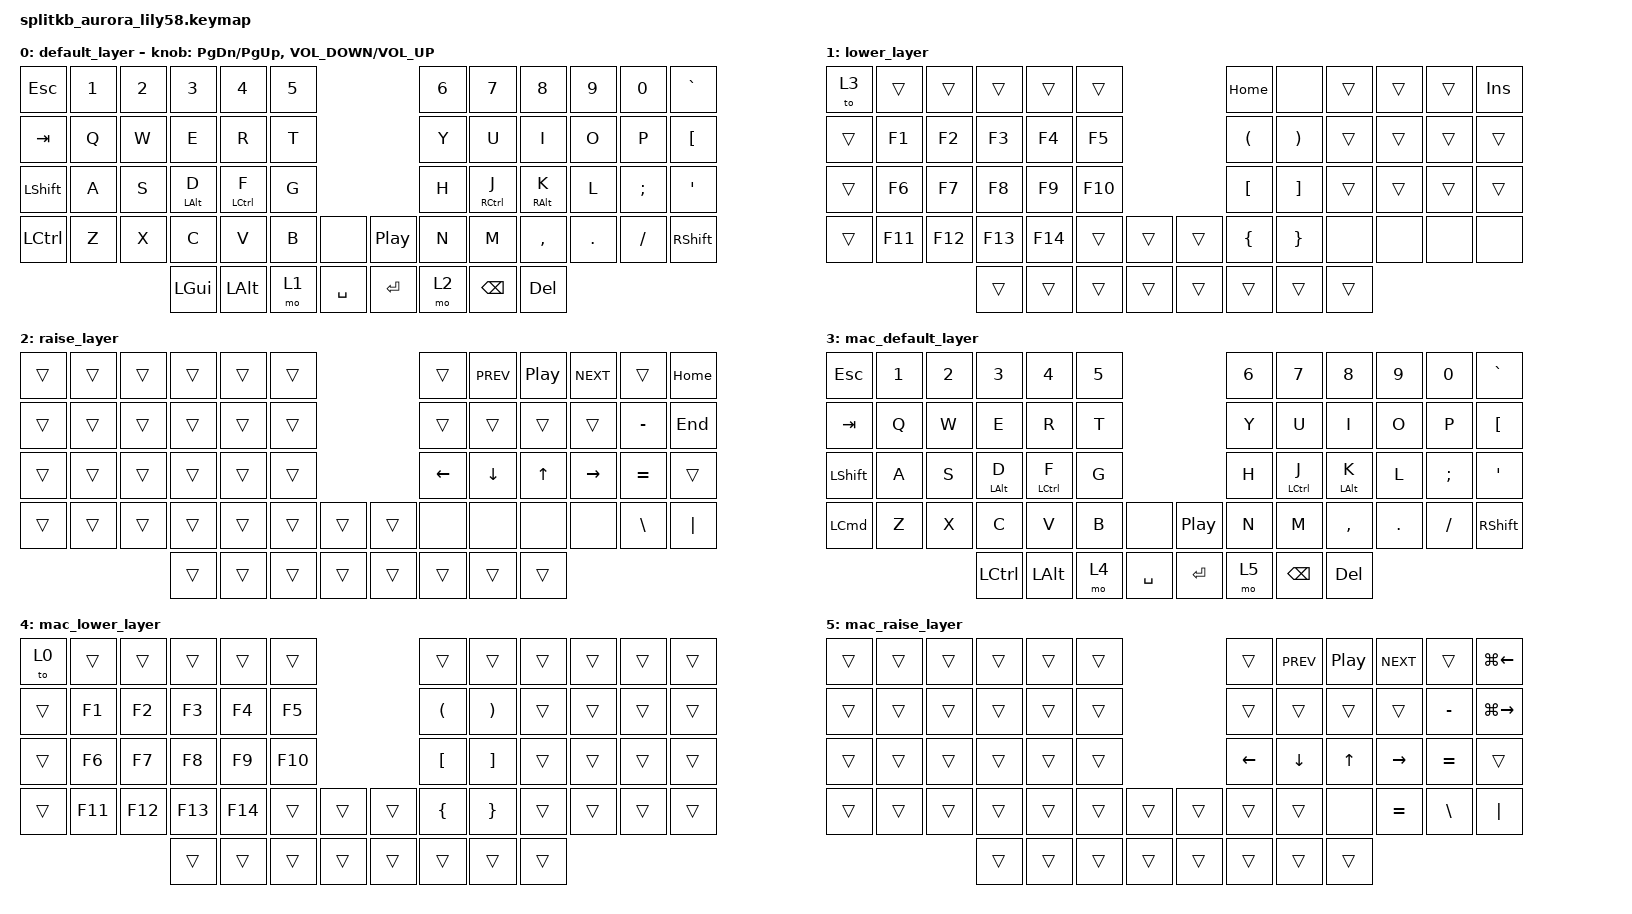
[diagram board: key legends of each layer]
/*
 * Copyright (c) 2022 The ZMK Contributors
 *
 * SPDX-License-Identifier: MIT
 */

#include <behaviors.dtsi>
#include <dt-bindings/zmk/keys.h>

/ {
    behaviors {
        hold_and_tap: hold_and_tap {
            compatible = "zmk,behavior-hold-tap";
            label = "HOLD_AND_TAP";
            bindings = <&kp>, <&kp>;

            #binding-cells = <2>;
            tapping-term-ms = <200>;
            flavor = "tap-preferred";
        };

        tap_dance_j_control: tap_dance_j_control {
            compatible = "zmk,behavior-tap-dance";
            label = "TAP_DANCE_J_CONTROL";
            #binding-cells = <0>;
            bindings = <&kp J>, <&kp LEFT_CONTROL>;
        };
    };

    keymap {
        compatible = "zmk,keymap";

        default_layer {
            // ------------------------------------------------------------------------------------------------------------
            // |  ESC  |  1  |  2  |  3   |  4   |  5   |                   |  6   |  7    |  8    |  9   |   0   |   `   |
            // |  TAB  |  Q  |  W  |  E   |  R   |  T   |                   |  Y   |  U    |  I    |  O   |   P   |   -   |
            // |  CTRL |  A  |  S  |  D   |  F   |  G   |                   |  H   |  J    |  K    |  L   |   ;   |   '   |
            // | SHIFT |  Z  |  X  |  C   |  V   |  B   |   "["  |  |  "]"  |  N   |  M    |  ,    |  .   |   /   | SHIFT |
            //                     | ALT  | GUI  | LOWER|  SPACE |  | ENTER | RAISE| BSPC  | GUI   |

            bindings = <
&kp ESC           &kp N1  &kp N2  &kp N3                    &kp N4                        &kp N5                                 &kp N6  &kp N7                         &kp N8                     &kp N9   &kp N0    &kp GRAVE
&kp TAB           &kp Q   &kp W   &kp E                     &kp R                         &kp T                                  &kp Y   &kp U                          &kp I                      &kp O    &kp P     &kp LEFT_BRACKET
&kp LEFT_SHIFT    &kp A   &kp S   &hold_and_tap LEFT_ALT D  &hold_and_tap LEFT_CONTROL F  &kp G                                  &kp H   &hold_and_tap RIGHT_CONTROL J  &hold_and_tap RIGHT_ALT K  &kp L    &kp SEMI  &kp SQT
&kp LEFT_CONTROL  &kp Z   &kp X   &kp C                     &kp V                         &kp B   &none        &kp C_PLAY_PAUSE  &kp N   &kp M                          &kp COMMA                  &kp DOT  &kp FSLH  &kp RSHFT
                                  &kp LGUI                  &kp LALT                      &mo 1   &kp SPACE    &kp RET           &mo 2   &kp BSPC                       &kp DELETE
            >;

            sensor-bindings =
                <&inc_dec_kp PG_DN PAGE_UP>,
                <&inc_dec_kp C_VOLUME_DOWN C_VOLUME_UP>;
        };

        lower_layer {
            // ------------------------------------------------------------------------------------------------------------
            // | BTCLR | BT1 | BT2 |  BT3 |  BT4 |  BT5 |                   |      |       |       |      |       |       |
            // |  F1   |  F2 |  F3 |  F4  |  F5  |  F6  |                   |  F7  |  F8   |  F9   |  F10 |  F11  |  F12  |
            // |   `   |  !  |  @  |  #   |  $   |  %   |                   |  ^   |  &    |  *    |  (   |   )   |   ~   |
            // |       |     |     |      |      |      |        |  |       |      |  _    |  +    |  {   |   }   |  "|"  |
            //                     |      |      |      |        |  |       |      |       |       |

            bindings = <
&to 3   &trans   &trans   &trans   &trans   &trans                     &kp HOME              &none                  &trans  &trans  &trans  &kp INS
&trans  &kp F1   &kp F2   &kp F3   &kp F4   &kp F5                     &kp LEFT_PARENTHESIS  &kp RIGHT_PARENTHESIS  &trans  &trans  &trans  &trans
&trans  &kp F6   &kp F7   &kp F8   &kp F9   &kp F10                    &kp LEFT_BRACKET      &kp RIGHT_BRACKET      &trans  &trans  &trans  &trans
&trans  &kp F11  &kp F12  &kp F13  &kp F14  &trans   &trans    &trans  &kp LEFT_BRACE        &kp RIGHT_BRACE        &none   &none   &none   &none
                          &trans   &trans   &trans   &trans    &trans  &trans                &trans                 &trans
            >;
        };

        raise_layer {
            // ------------------------------------------------------------------------------------------------------------
            // |       |     |     |      |      |      |                   |      |       |       |      |       |       |
            // |   `   |  1  |  2  |  3   |  4   |  5   |                   |  6   |   7   |   8   |  9   |   0   |       |
            // |   F1  |  F2 |  F3 |  F4  |  F5  |  F6  |                   |      |   <-  |   v   |  ^   |  ->   |       |
            // |   F7  |  F8 |  F9 |  F10 |  F11 |  F12 |        |  |       |  +   |   -   |   =   |  [   |   ]   |   \   |
            //                     |      |      |      |        |  |       |      |       |       |

            bindings = <
&trans  &trans  &trans  &trans  &trans  &trans                    &trans    &kp C_PREV  &kp C_PP  &kp C_NEXT  &trans         &kp HOME
&trans  &trans  &trans  &trans  &trans  &trans                    &trans    &trans      &trans    &trans      &kp MINUS      &kp END
&trans  &trans  &trans  &trans  &trans  &trans                    &kp LEFT  &kp DOWN    &kp UP    &kp RIGHT   &kp EQUAL      &trans
&trans  &trans  &trans  &trans  &trans  &trans  &trans    &trans  &none     &none       &none     &none       &kp BACKSLASH  &kp PIPE
                        &trans  &trans  &trans  &trans    &trans  &trans    &trans      &trans
            >;
        };

        mac_default_layer {
            bindings = <
&kp ESC           &kp N1  &kp N2  &kp N3                    &kp N4                        &kp N5                          &kp N6  &kp N7                        &kp N8                    &kp N9   &kp N0    &kp GRAVE
&kp TAB           &kp Q   &kp W   &kp E                     &kp R                         &kp T                           &kp Y   &kp U                         &kp I                     &kp O    &kp P     &kp LBKT
&kp LSHFT         &kp A   &kp S   &hold_and_tap LEFT_ALT D  &hold_and_tap LEFT_CONTROL F  &kp G                           &kp H   &hold_and_tap LEFT_CONTROL J  &hold_and_tap LEFT_ALT K  &kp L    &kp SEMI  &kp APOS
&kp LEFT_COMMAND  &kp Z   &kp X   &kp C                     &kp V                         &kp B   &none        &kp C_PP   &kp N   &kp M                         &kp COMMA                 &kp DOT  &kp FSLH  &kp RSHFT
                                  &kp LCTRL                 &kp LEFT_ALT                  &mo 4   &kp SPACE    &kp ENTER  &mo 5   &kp BACKSPACE                 &kp DELETE
            >;
        };

        mac_lower_layer {
            bindings = <
&to 0   &trans   &trans   &trans   &trans   &trans                     &trans                &trans                 &trans  &trans  &trans  &trans
&trans  &kp F1   &kp F2   &kp F3   &kp F4   &kp F5                     &kp LEFT_PARENTHESIS  &kp RIGHT_PARENTHESIS  &trans  &trans  &trans  &trans
&trans  &kp F6   &kp F7   &kp F8   &kp F9   &kp F10                    &kp LEFT_BRACKET      &kp RIGHT_BRACKET      &trans  &trans  &trans  &trans
&trans  &kp F11  &kp F12  &kp F13  &kp F14  &trans   &trans    &trans  &kp LEFT_BRACE        &kp RIGHT_BRACE        &trans  &trans  &trans  &trans
                          &trans   &trans   &trans   &trans    &trans  &trans                &trans                 &trans
            >;
        };

        mac_raise_layer {
            bindings = <
&trans  &trans  &trans  &trans  &trans  &trans                    &trans    &kp C_PREV  &kp C_PP  &kp C_NEXT  &trans         &kp LG(LEFT)
&trans  &trans  &trans  &trans  &trans  &trans                    &trans    &trans      &trans    &trans      &kp MINUS      &kp LG(RIGHT_ARROW)
&trans  &trans  &trans  &trans  &trans  &trans                    &kp LEFT  &kp DOWN    &kp UP    &kp RIGHT   &kp EQUAL      &trans
&trans  &trans  &trans  &trans  &trans  &trans  &trans    &trans  &trans    &trans      &none     &kp EQUAL   &kp BACKSLASH  &kp PIPE
                        &trans  &trans  &trans  &trans    &trans  &trans    &trans      &trans
            >;
        };
    };
};
